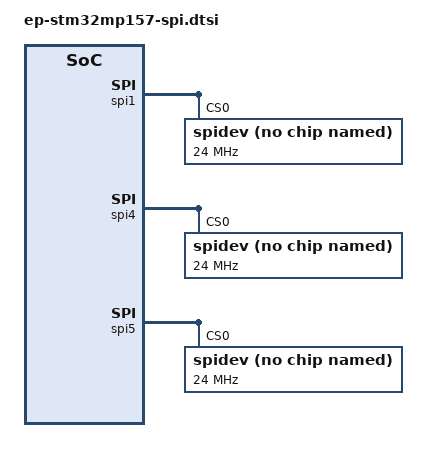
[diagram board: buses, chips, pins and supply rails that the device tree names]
// SPDX-License-Identifier: (GPL-2.0+ OR BSD-3-Clause)
/*
 * Copyright (C) STMicroelectronics 2017 - All Rights Reserved
 * Author: Ludovic Barre <ludovic.barre@st.com> for STMicroelectronics.
 */
#include <dt-bindings/pinctrl/stm32-pinfunc.h>

&spi1 {
	pinctrl-names = "default";
	pinctrl-0 = <>;
	cs-gpios = <0>;
	
	/* Use PIO Mode */
	/delete-property/dmas;
	/delete-property/dma-names;
	
	status = "okay";			
 
	spidev@0{
		compatible = "spidev";
		reg = <0>;
		spi-max-frequency = <24000000>;
		#address-cells = <1>;
		#size-cells = <0>;
	};
};

&spi4 {
	pinctrl-names = "default";
	pinctrl-0 = <>;
	cs-gpios = <0>;
	
	/* Use PIO Mode */
	/delete-property/dmas;
	/delete-property/dma-names;
	
	status = "okay";			
 
	spidev@0{
		compatible = "spidev";
		reg = <0>;
		spi-max-frequency = <24000000>;
		#address-cells = <1>;
		#size-cells = <0>;
	};
};

&spi5 {
	pinctrl-names = "default";
	pinctrl-0 = <>;
	cs-gpios = <0>;
	
	/* Use PIO Mode */
	/delete-property/dmas;
	/delete-property/dma-names;
	
	status = "okay";			
 
	spidev@0{
		compatible = "spidev";
		reg = <0>;
		spi-max-frequency = <24000000>;
		#address-cells = <1>;
		#size-cells = <0>;
	};
};

